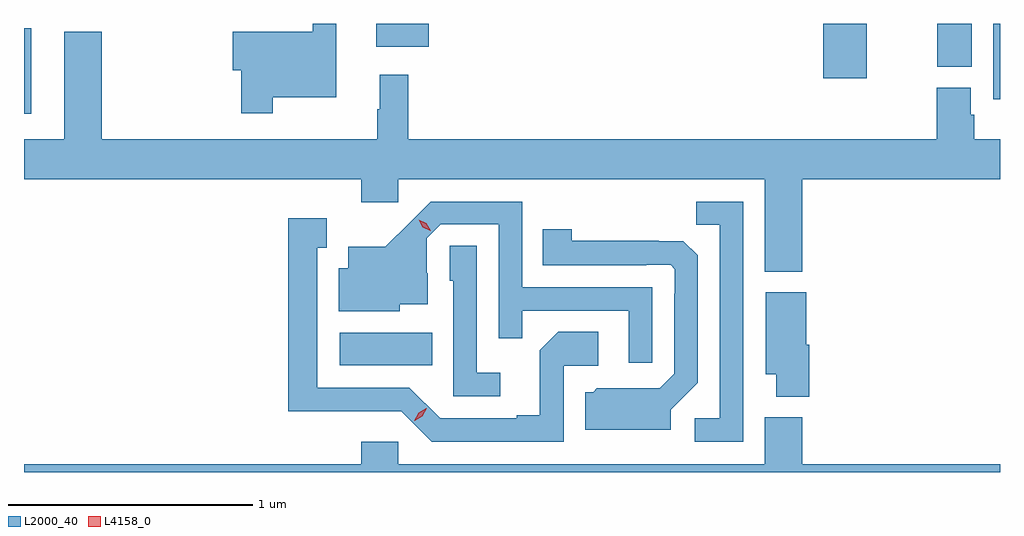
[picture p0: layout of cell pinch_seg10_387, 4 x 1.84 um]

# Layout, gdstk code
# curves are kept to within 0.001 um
import gdstk
lib = gdstk.Library(unit=1e-6, precision=1e-09)
def R(c, l, rs):  # rectangles x0, y0, x1, y1
    for r in rs: c.add(gdstk.rectangle(r[:2], r[2:], *l))
def P(c, l, *ps):  # polygons
    for p in ps: c.add(gdstk.Polygon(p, *l))
L2000_40 = (2000, 40)
L4158_0 = (4158, 0)

pinch_seg10_387 = lib.new_cell('pinch_seg10_387')
R(pinch_seg10_387, L2000_40, [(599.58,1248.938,599.96,1249.072), (598.286,1249.968,598.315,1250.32), (602.258,1250.028,602.286,1250.337), (601.562,1250.115,601.74,1250.337), (602.029,1250.161,602.17,1250.337), (599.729,1250.243,599.944,1250.337)])
P(pinch_seg10_387, L2000_40, [(599.305,1250.036),(599.566,1250.036),(599.566,1250.337),(599.469,1250.337),(599.469,1250.305),(599.142,1250.305),(599.142,1250.147),(599.176,1250.147),(599.176,1249.971),(599.305,1249.971)],
  [(601.475,1249.7),(602.286,1249.7),(602.286,1249.864),(602.18,1249.864),(602.18,1249.965),(602.167,1249.965),(602.167,1250.076),(602.027,1250.076),(602.027,1249.864),(599.861,1249.864),(599.861,1250.128),(599.744,1250.128),(599.744,1249.988),(599.733,1249.988),(599.733,1249.864),(598.604,1249.864),(598.604,1250.305),(598.451,1250.305),(598.451,1249.864),(598.286,1249.864),(598.286,1249.7),(599.669,1249.7),(599.669,1249.605),(599.82,1249.605),(599.82,1249.7),(601.322,1249.7),(601.322,1249.322),(601.475,1249.322)],
  [(600.861,1249.257),(600.327,1249.257),(600.327,1249.608),(599.954,1249.608),(599.767,1249.423),(599.615,1249.423),(599.615,1249.336),(599.576,1249.336),(599.576,1249.16),(599.826,1249.16),(599.826,1249.187),(599.941,1249.187),(599.941,1249.316),(599.937,1249.316),(599.937,1249.458),(599.994,1249.515),(600.231,1249.515),(600.231,1249.048),(600.329,1249.048),(600.329,1249.161),(600.765,1249.161),(600.765,1248.948),(600.861,1248.948)],
  [(601.233,1249.608),(601.042,1249.608),(601.042,1249.513),(601.137,1249.513),(601.137,1248.72),(601.035,1248.72),(601.035,1248.624),(601.233,1248.624)],
  [(600.498,1248.936),(600.64,1248.936),(600.64,1249.076),(600.475,1249.076),(600.399,1249),(600.399,1248.733),(600.305,1248.733),(600.305,1248.72),(599.991,1248.72),(599.865,1248.846),(599.488,1248.846),(599.488,1249.419),(599.527,1249.419),(599.527,1249.54),(599.37,1249.54),(599.37,1248.749),(599.832,1248.75),(599.958,1248.624),(600.498,1248.624)],
  [(600.937,1248.756),(601.047,1248.866),(601.047,1249.388),(600.988,1249.447),(600.531,1249.448),(600.531,1249.495),(600.412,1249.495),(600.412,1249.347),(600.836,1249.347),(600.836,1249.35),(600.936,1249.35),(600.954,1249.332),(600.954,1249.232),(600.951,1249.232),(600.951,1248.903),(600.891,1248.843),(600.634,1248.844),(600.618,1248.828),(600.587,1248.828),(600.587,1248.674),(600.937,1248.674)],
  [(600.238,1248.907),(600.141,1248.907),(600.141,1249.427),(600.03,1249.427),(600.03,1249.284),(600.045,1249.284),(600.045,1248.81),(600.238,1248.81)],
  [(601.505,1249.023),(601.492,1249.023),(601.492,1249.237),(601.325,1249.237),(601.325,1248.902),(601.37,1248.902),(601.37,1248.809),(601.505,1248.809)],
  [(602.286,1248.532),(601.475,1248.532),(601.475,1248.724),(601.322,1248.724),(601.322,1248.532),(599.82,1248.532),(599.82,1248.625),(599.669,1248.625),(599.669,1248.532),(598.286,1248.532),(598.286,1248.5),(602.286,1248.5)])
P(pinch_seg10_387, L4158_0, [(599.951,1249.489),(599.921,1249.504),(599.904,1249.534),(599.904,1249.534),(599.904,1249.534),(599.935,1249.519),(599.952,1249.489),(599.952,1249.489)],
  [(599.886,1248.71),(599.886,1248.71),(599.904,1248.743),(599.935,1248.762),(599.936,1248.762),(599.936,1248.762),(599.918,1248.729),(599.887,1248.71)])

lib.write_gds('pinch_seg10_387.gds')
